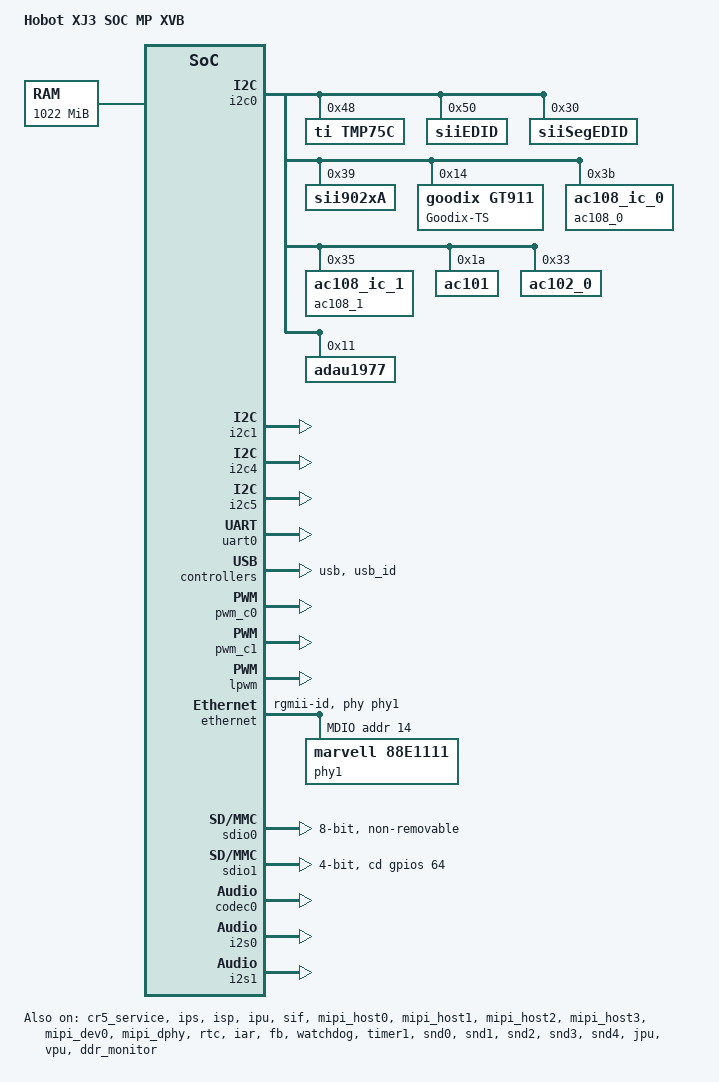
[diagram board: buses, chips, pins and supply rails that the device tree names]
/*
 * dtsi file for Hobot XJ3 XVB
 *
 * (C) Copyright 2018, Horizon, Inc.
 *
 *
 * This program is free software; you can redistribute it and/or
 * modify it under the terms of the GNU General Public License as
 * published by the Free Software Foundation; either version 2 of
 * the License, or (at your option) any later version.
 */

/dts-v1/;
#include "hobot-xj3.dtsi"
#include "hobot-pinctrl-xj3.dtsi"
#include "hobot-clk-xj3.dtsi"
#include <dt-bindings/gpio/gpio.h>
#include <dt-bindings/phy/phy.h>

/ {
	model = "Hobot XJ3 SOC MP XVB";
	compatible = "hobot,x3-soc";

	aliases {
		serial0 = &uart0;
		serial1 = &uart1;
		serial2 = &uart2;
		serial3 = &uart3;
		i2c0	= &i2c0;
		i2c1	= &i2c1;
		i2c2	= &i2c2;
		i2c3	= &i2c3;
		i2c4	= &i2c4;
		i2c5	= &i2c5;
		i2s0	= &i2s0;
		i2s1	= &i2s1;
		spi0	= &spi0;
		spi1	= &spi1;
		spi2	= &spi2;
		usb	= &usb;
		bifspi	= &bifspi;
		bifsd   = &bifsd;
		mmc1	= &sdio0;
		mmc2	= &sdio1;
		mmc3	= &sdio2;
		dma	= &dma;
		dmatest = &dmatest;
		mipihost0 = &mipi_host0;
		mipihost1 = &mipi_host1;
		mipihost2 = &mipi_host2;
		mipihost3 = &mipi_host3;
		mipidev0 = &mipi_dev0;

		sndcard0 = &snd0;
		sndcard1 = &snd1;
		sndcard2 = &snd2;
		sndcard3 = &snd3;
		sndcard4 = &snd4;

		codec0 = &codec0;

		idma0 = &i2sidma0;
		idma1 = &i2sidma1;

	};

	chosen {
		bootargs = "earlycon loglevel=8 console=ttyS0 clk_ignore_unused";
		stdout-path = "serial0";
	};

	memory@0 {
		device_type = "memory";
		reg = <0x0 0x200000 0x0 0x3FE00000>;
	};

	reserved-memory {
		#address-cells = <2>;
		#size-cells = <2>;
		ranges;

		/*Reserved 256K memory pstore */
		ramoops@0x3FC0000 {
			compatible = "ramoops";
			reg = <0x0 0x3FC0000 0x0 0x40000>;
			console-size = <0x8000>;
			pmsg-size = <0x8000>;
			ftrace-size = <0x8000>;
			record-size = <0x4000>;
		};

		/* Reserved 672MB memory for ion cma */
		ion_cma: ion_cma {
			compatible = "shared-dma-pool";
			alloc-ranges = <0x0 0x4000000 0x0 0x2A000000>;
			alignment = <0x0 0x100000>;
			reusable;
			size = <0x0 0x2A000000>;
			status = "okay";
		};

		/* Reserved 272MB memory for ion */
		ion_reserved: ion_reserved@0x4000000 {
			compatible = "ion-pool";
			reg = <0x0 0x4000000 0x0 0x2A000000>;
			status = "disabled";
		};

		/*Reserved 1M memory for CR5*/
		image_r5_mem: image_r5_mem {
                        reg = <0x0 0x80000000 0x0 0x10000>;
                        no-map;
                };

                msg_r5_mem: msg_r5_mem {
                        reg = <0x0 0x3EFF000 0x0 0x1000>;
                        no-map;
                };
	};
};

&cr5_service {
	status = "okay";
};

&i2c0 {
	status = "okay";
	#address-cells = <1>;
	#size-cells = <0>;

	tmp75c@48 {
		compatible = "ti,tmp75c";
		reg = <0x48>;
		#thermal-sensor-cells = <0>;
	};

	siiEDID@0x50 {
		compatible = "siiEDID";
		reg = <0x50>;
	};
	siiSegEDID@0x30 {
		compatible = "siiSegEDID";
		reg = <0x30>;
	};
	sii902xA@0x39 {
		compatible = "sii902xA";
		reg = <0x39>;
		rst_pin = <112>;
		irq_pin = <21>;
	};
        Goodix-TS@0x14 {
		compatible = "goodix,gt911";
		reg = <0x14>;
		irq_pin = <29>;
		reset_pin = <28>;
        };

	ac108_0: ac108_0@0x3b {
                compatible = "ac108_ic_0";
                reg = <0x3b>;
                #sound-dai-cells = <1>;
        };

        ac108_1@0x35 {
                compatible = "ac108_ic_1";
                reg = <0x35>;
        };

        ac101: ac101@0x1a {
                compatible = "ac101";
                //spk-amp-switch = <71>;
                //switch-irq = <72>;
                reg = <0x1a>;
                #sound-dai-cells = <0>;
        };

	ac102_0: ac102_0@0x33 {
		compatible = "ac102_0";
		reg = <0x33>;
		#sound-dai-cells = <1>;
	};

	adau1977: adau1977@0x11 {
		compatible = "adau1977";
		reg = <0x11>;
		#sound-dai-cells = <0>;
	};
};
&i2c1 {
	status = "okay";
};

&i2c4 {
	status = "okay";
};
&i2c5 {
	status = "okay";
};

&pinctrl {
	status = "okay";
};

&gpios {
	status = "okay";
};

&uart0 {
	status = "okay";
};

&usb {
	status = "okay";
};

&usb_id {
	status = "okay";

	/* vbus-gpio = <>; */
	id-gpio = <&gpios 65 GPIO_ACTIVE_HIGH>;
};

&ips {
	status = "okay";
};

&isp {
	status = "okay";
};

&ipu {
	status = "okay";
};

&sif {
	status = "okay";
};

&mipi_host0 {
	status = "okay";
};

&mipi_host1 {
	status = "okay";
};

&mipi_host2 {
	status = "okay";
};

&mipi_host3 {
	status = "okay";
};

&mipi_dev0 {
	status = "okay";
};

&mipi_dphy {
	status = "okay";
};

&dma {
	status = "okay";
};

&rtc {
	status = "okay";
};

&pwm_c0 {
	status = "okay";
};

&pwm_c1 {
	status = "okay";
};

&lpwm {
	status = "okay";
};

&ethernet {
	status = "okay";

	/* local-mac-address = [ 00 11 22 33 44 55 ]; */
	phy-handle = <&phy1>;
	phy-mode = "rgmii-id";
	mdio {
		#address-cells = <0x1>;
		#size-cells = <0x0>;
		phy1: phy@e {
			compatible = "marvell,88E1111","ethernet-phy-ieee802.3-c22";
			reg = <0xe>;
		};
	};
};


&iar {
        status = "okay";
	timing_1920x1080 = <163000000 148 88 44 36 4 5>;
	timing_800x480 = <32000000 80 120 48 32 43 2>;
	timing_1080x1920 = <32000000 100 400 5 4 400 5>;
	timing_720x1280_touch = <54000000 100 100 10 20 10 10>;
	timing_704x576 = <27000000 288 0 0 22 2 0>;
	timing_720x480 = <27000000 276 0 0 19 3 0>;
	startup-img = <0>;
	pwm = <0 1000 10>;//pwm-no, period, duty
	bt656_pin_group = <0>;
	btclk_invert = <0>;
};

&fb {
	status = "okay";
	offset-rgba = <8 16 24 0>;
};

&bifspi {
	/* pin conflict: BIFSPI_SCLK(gpio28) - see 902xAA rst_pin */
	status = "disabled";
};

&bifsd {
	/* pin conflict: BIFSD_CMD(gpio21) - see 902xAA irq_pin */
	status = "disabled";
	/*cd-gpio = <77>;*/
};

&bifbase {
	status = "disabled";
	bifbase_irq_pin = <85>;
	bifbase_tri_pin = <84>;
};

&bifeth {
	status = "disabled";
};

&nor_flash {
	status = "disabled";
	#address-cells = <1>;
	#size-cells = <0>;
	spi-mode = <0>;		/* CPOL/CPHA mode */
	bus-width = <4>;
	device-name = "hr_nor";

	flash@0 {
		compatible = "jedec,spi-nor";
		#address-cells = <1>;
		#size-cells = <1>;
		reg = <0x0>;
		spi-max-frequency = <62500000>; /* For FPGA max clk is 20Mhz */
	};
};

&nand_flash {
	status = "disabled";
	#address-cells = <1>;
	#size-cells = <0>;
	spi-mode = <0>;		/* CPOL/CPHA mode */
	bus-width = <4>;
	device-name = "hr_nand";

	spi-nand@0 {
		compatible = "spi-nand";
		#address-cells = <1>;
		#size-cells = <1>;
		reg = <0x0>;
		spi-max-frequency = <62500000>; /* For FPGA max clk is 20Mhz */
	};
};

&sdio0 {
	status = "okay";
	bus-width = <8>;
	cap-mmc-highspeed;
	mmc-hs200-1_8v;
	non-removable;
	disable-wp;
};

&sdio1 {
	status = "okay";
	bus-width = <4>;
	no-mmc;
	cap-sd-highspeed;
	sd-uhs-sdr12;
	sd-uhs-sdr25;
	sd-uhs-sdr50;
	sd-uhs-sdr104;
	uhs-180v-gpio = <120>; /* QSPI_CSN1/GPIO7[8] */
	uhs-180v-logic = <1>;
	cd-gpios = <&gpios 64 GPIO_ACTIVE_HIGH>;  /* SD0_DET_N /GPIO4[0] */
	/* broken-cd; */
	disable-wp;
	pinctrl-names = "default","voltage_1_8v","voltage_3_3v";
	pinctrl-0 = <&sdio1_func>;
	pinctrl-1 = <&sd1_1_8v_func>;
	pinctrl-2 = <&sd1_3_3v_func>;
};

&sdio2 {
	status = "disabled";
	bus-width = <4>;
	no-mmc;
	cap-sdio-irq;
	cap-sd-highspeed;
	sd-uhs-sdr12;
	sd-uhs-sdr25;
	sd-uhs-sdr50;
	sd-uhs-sdr104;
	broken-cd;
	disable-wp;
};

&watchdog {
	status = "okay";
};

&timer1 {
	status = "okay";
};

&codec0 {
	status = "okay";
	#sound-dai-cells = <0>;
};

&i2s0 {
	status = "okay";
	#sound-dai-cells = <0>;
	clocks = <&i2s0_mclk>, <&i2s0_bclk>;
	clock-names = "i2s-mclk", "i2s-bclk";
	bclk_set = <1536000>; //duplex
};

&i2s1 {
	status = "okay";
	#sound-dai-cells = <0>;
	clocks = <&i2s1_mclk>, <&i2s1_bclk>;
	clock-names = "i2s-mclk", "i2s-bclk";
	bclk_set = <1536000>;
};

&i2sidma0 {
	status = "okay";
};

&i2sidma1 {
	status = "okay";
};

&snd0 {
	status = "okay";
};

&snd1 {
	status = "okay";
};

&snd2 {
	status = "okay";
};

&snd3 {
	status = "okay";
};

&snd4 {
	status = "okay";
};

&jpu {
	status = "okay";
};

&vpu {
	status = "okay";
};

&ddr_monitor {
	status = "okay";
};

&apb_timeout {
	status = "okay";
};

&power {
	status = "okay";
};

&soc_thermal {
	status = "okay";
};

&snd0 {
        model = "hobotsnd0";
        dai-link@0 {
                dai-format = "dsp_a";
                //dai-format = "i2s";   //duplex
                bitclock-master;
                frame-master;
                frame-inversion;
                link-name = "hobotdailink0";
                cpu {
                        sound-dai = <&i2s0>;
                };
                codec {
                        //sound-dai = <&ac101>;    //duplex
                        sound-dai = <&ac108_0 0>;
                };
                platform {
                        sound-dai = <&i2sidma0>;
                };
        };
        dai-link@1 {
                dai-format = "i2s";
                bitclock-master;   //not need setting in duplex
                frame-master;      //not need setting in duplex
                frame-inversion;
                link-name = "hobotdailink1";
                cpu {
                        sound-dai = <&i2s1>;
                };
                codec {
                        sound-dai = <&ac101>;
                        //sound-dai = <&ac102_0 0>;
                };
                platform {
                        sound-dai = <&i2sidma1>;
                };
        };
};
&snd1 {
        model = "hobotsnd1";
        dai-link@1 {
                dai-format = "i2s";
                bitclock-master;
                frame-master;
                frame-inversion;
                link-name = "hobotdailink1";
                cpu {
                        sound-dai = <&i2s0>;
                };
                codec {
                        sound-dai = <&adau1977>;
                };
                platform {
                        sound-dai = <&i2sidma0>;
                };
        };
};
&snd2 {
        model = "hobotsnd2";
        dai-link@0 {
                dai-format = "i2s";   //duplex
                //bitclock-master;
                //frame-master;
                frame-inversion;
                link-name = "hobotdailink0";
                cpu {
                        sound-dai = <&i2s0>;
                };
                codec {
                        sound-dai = <&ac101>;    //duplex
                };
                platform {
                        sound-dai = <&i2sidma0>;
                };
        };
        dai-link@1 {
                dai-format = "i2s";
                bitclock-master;
                frame-master;
                frame-inversion;
                link-name = "hobotdailink1";
                cpu {
                        sound-dai = <&i2s1>;
                };
                codec {
                        sound-dai = <&ac101>;
                };
                platform {
                        sound-dai = <&i2sidma1>;
                };
        };
};

&snd3 {
        model = "hobotsnd3";
        dai-link@0 {
                dai-format = "dsp_a";
                //dai-format = "i2s";   //duplex
                bitclock-master;
                frame-master;
                frame-inversion;
                link-name = "hobotdailink0";
                cpu {
                        sound-dai = <&i2s0>;
                };
                codec {
                        //sound-dai = <&ac101>;    //duplex
                        sound-dai = <&ac108_0 0>;
                };
                platform {
                        sound-dai = <&i2sidma0>;
                };
        };
        dai-link@1 {
                dai-format = "i2s";
                bitclock-master;   //not need setting in duplex
                frame-master;      //not need setting in duplex
                frame-inversion;
                link-name = "hobotdailink1";
                cpu {
                        sound-dai = <&i2s1>;
                };
                codec {
                        sound-dai = <&ac102_0 0>;
                };
                platform {
                        sound-dai = <&i2sidma1>;
                };
        };
};

&snd4 { //dummy-codec
        model = "hobotsnd4";
        dai-link@0 {
                dai-format = "i2s";
                //bitclock-master;
                //frame-master;
                frame-inversion;
                link-name = "hobotdailink0";
                cpu {
                        sound-dai = <&i2s0>;
                };
                codec {
                        sound-dai = <&codec0>;
                };
                platform {
                        sound-dai = <&i2sidma0>;
                };
        };
        dai-link@1 {
                dai-format = "i2s";
                bitclock-master;
                frame-master;
                frame-inversion;
                link-name = "hobotdailink1";
                cpu {
                        sound-dai = <&i2s1>;
                };
                codec {
                        sound-dai = <&codec0>;
                };
                platform {
                        sound-dai = <&i2sidma1>;
                };
        };
};
